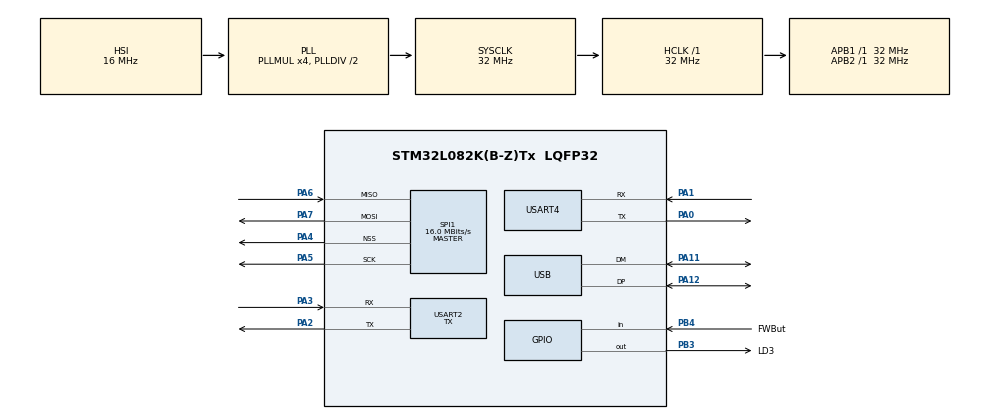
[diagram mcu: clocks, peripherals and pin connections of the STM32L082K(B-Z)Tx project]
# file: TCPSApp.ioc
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Mcu.Family=STM32L0
Mcu.Name=STM32L082K(B-Z)Tx
Mcu.Package=LQFP32
NVIC.SPI1_IRQn=true\:0\:0\:false\:false\:true
NVIC.TIM2_IRQn=true\:0\:0\:false\:false\:true
NVIC.TimeBase=TIM2_IRQn
NVIC.TimeBaseIP=TIM2
NVIC.USART2_IRQn=true\:0\:0\:false\:false\:true
NVIC.USART4_5_IRQn=true\:0\:0\:false\:false\:true
NVIC.USB_IRQn=true\:0\:0\:false\:false\:true
PA0.Mode=Asynchronous
PA0.Signal=USART4_TX
PA1.Mode=Asynchronous
PA1.Signal=USART4_RX
PA11.Mode=Device
PA11.Signal=USB_DM
PA12.Mode=Device
PA12.Signal=USB_DP
PA13.Mode=Serial_Wire
PA13.Signal=SYS_SWDIO
PA14.Mode=Serial_Wire
PA14.Signal=SYS_SWCLK
PA2.Mode=Asynchronous
PA2.Signal=USART2_TX
PA3.Mode=Asynchronous
PA3.Signal=USART2_RX
PA4.Mode=NSS_Signal_Hard_Output
PA4.Signal=SPI1_NSS
PA5.Mode=Full_Duplex_Master
PA5.Signal=SPI1_SCK
PA6.Mode=Full_Duplex_Master
PA6.Signal=SPI1_MISO
PA7.Mode=Full_Duplex_Master
PA7.Signal=SPI1_MOSI
PB3.GPIO_Label=LD3
PB3.Signal=GPIO_Output
PB4.GPIO_Label=FWBut
PB4.GPIO_PuPd=GPIO_PULLDOWN
PB4.Signal=GPIO_Input
PC14-OSC32_IN.Mode=LSE-External-Oscillator
PC14-OSC32_IN.Signal=RCC_OSC32_IN
PC15-OSC32_OUT.Mode=LSE-External-Oscillator
PC15-OSC32_OUT.Signal=RCC_OSC32_OUT
ProjectManager.HeapSize=0x2000
ProjectManager.StackSize=0x2000
ProjectManager.TargetToolchain=MDK-ARM V5
RCC.48MEnable=true
RCC.ADCEnable=false
RCC.AHBFreq_Value=32000000
RCC.APB1Freq_Value=32000000
RCC.APB1TimFreq_Value=32000000
RCC.APB2Freq_Value=32000000
RCC.APB2TimFreq_Value=32000000
RCC.ClockTypeHCLK=RCC_CLOCKTYPE_HCLK
RCC.ClockTypePCLK1=RCC_CLOCKTYPE_PCLK1
RCC.ClockTypePCLK2=RCC_CLOCKTYPE_PCLK2
RCC.ClockTypeSysClk=RCC_CLOCKTYPE_SYSCLK
RCC.EnableCSSLSE=false
RCC.EnableHSE=false
RCC.EnableHSELCDDevisor=false
RCC.EnableHSERTCDevisor=false
RCC.EnableLSE=true
RCC.EnableLSERTC=true
RCC.EnbaleCSS=false
RCC.HCLKFreq_Value=32000000
RCC.HSI16State=RCC_HSI_ON
RCC.HSI16_VALUE=16000000
RCC.HSI48MClockSelection=RCC_USBCLKSOURCE_HSI48
RCC.HSI48State=RCC_HSI48_ON
RCC.HSI48_VALUE=48000000
RCC.HSI_VALUE=16000000
RCC.I2C1Enable=false
RCC.IWDGEnable=false
RCC.LCDEnable=false
RCC.LPTIMEnable=false
RCC.LPUARTEnable=false
RCC.LSEState=RCC_LSE_ON
RCC.LSIState=RCC_LSI_OFF
RCC.MCOEnable=false
RCC.MSI_VALUE=2097000
RCC.PLLMUL=RCC_PLLMUL_4
RCC.PLLSource=RCC_PLLSOURCE_HSI
RCC.PLLSourceVirtual=RCC_PLLSOURCE_HSI
RCC.PLLState=RCC_PLL_ON
RCC.RCC_PERIPHCLK_HSI48Var=RCC_PERIPHCLK_USB
RCC.RCC_PERIPHCLK_RTCVar=RCC_PERIPHCLK_RTC
RCC.RCC_PERIPHCLK_USART2Var=RCC_PERIPHCLK_USART2
RCC.RNGEnable=true
RCC.RTCClockSelection=RCC_RTCCLKSOURCE_LSE
RCC.RTCEnable=true
RCC.SYSCLKFreq_VALUE=32000000
RCC.SYSCLKSource=RCC_SYSCLKSOURCE_PLLCLK
RCC.USART1Enable=false
RCC.USART2Enable=true
RCC.USBEnable=true
RCC.VCOOutputFreq_Value=64000000
RTC.Format=RTC_FORMAT_BIN
RTC.OutPut=RTC_OUTPUT_DISABLE
RTC.OutPutPolarity=RTC_OUTPUT_POLARITY_HIGH
RTC.OutPutType=RTC_OUTPUT_TYPE_OPENDRAIN
SPI1.BaudRatePrescaler=SPI_BAUDRATEPRESCALER_2
SPI1.CRCLength=SPI_CRC_LENGTH_DATASIZE
SPI1.CRCPolynomial=7
SPI1.CalculateBaudRate=16.0 MBits/s
SPI1.Direction=SPI_DIRECTION_2LINES
SPI1.Mode=SPI_MODE_MASTER
SPI1.NSSPMode=SPI_NSS_PULSE_DISABLE
SPI1.VirtualNSS=VM_NSSHARD
SPI1.VirtualType=VM_MASTER
USART2.HwFlowCtl-Asynchronous=UART_HWCONTROL_NONE
USART2.Mode=MODE_TX
USART2.VirtualMode-Asynchronous=VM_ASYNC
USART2.WordLength=WORDLENGTH_8B
USART4.HwFlowCtl-Asynchronous=UART_HWCONTROL_NONE
USART4.VirtualMode-Asynchronous=VM_ASYNC
USART4.WordLength=WORDLENGTH_8B
USB_DEVICE.CLASS_NAME_FS=CDC
USB_DEVICE.USBD_HandleTypeDef_FS=hUsbDevice_USB_FS
USB_DEVICE.VirtualMode=Cdc
USB_DEVICE.VirtualModeFS=Cdc_FS
VP_AES_VS_AES.Mode=AES_Activate
VP_RNG_VS_RNG.Mode=RNG_Activate
VP_RTC_VS_RTC_Activate.Mode=RTC_Enabled
VP_RTC_VS_RTC_Calendar.Mode=RTC_Calendar
VP_SYS_VS_tim2.Mode=TIM2
VP_USB_DEVICE_VS_USB_DEVICE_CDC_FS.Mode=CDC_FS
board=TCPSApp

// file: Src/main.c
/**
  ******************************************************************************
  * File Name          : main.c
  * Description        : Main program body
  ******************************************************************************
  *
  * Copyright (c) 2017 STMicroelectronics International N.V.
  * All rights reserved.
  *
  * Redistribution and use in source and binary forms, with or without
  * modification, are permitted, provided that the following conditions are met:
  *
  * 1. Redistribution of source code must retain the above copyright notice,
  *    this list of conditions and the following disclaimer.
  * 2. Redistributions in binary form must reproduce the above copyright notice,
  *    this list of conditions and the following disclaimer in the documentation
  *    and/or other materials provided with the distribution.
  * 3. Neither the name of STMicroelectronics nor the names of other
  *    contributors to this software may be used to endorse or promote products
  *    derived from this software without specific written permission.
  * 4. This software, including modifications and/or derivative works of this
  *    software, must execute solely and exclusively on microcontroller or
  *    microprocessor devices manufactured by or for STMicroelectronics.
  * 5. Redistribution and use of this software other than as permitted under
  *    this license is void and will automatically terminate your rights under
  *    this license.
  *
  * THIS SOFTWARE IS PROVIDED BY STMICROELECTRONICS AND CONTRIBUTORS "AS IS"
  * AND ANY EXPRESS, IMPLIED OR STATUTORY WARRANTIES, INCLUDING, BUT NOT
  * LIMITED TO, THE IMPLIED WARRANTIES OF MERCHANTABILITY, FITNESS FOR A
  * PARTICULAR PURPOSE AND NON-INFRINGEMENT OF THIRD PARTY INTELLECTUAL PROPERTY
  * RIGHTS ARE DISCLAIMED TO THE FULLEST EXTENT PERMITTED BY LAW. IN NO EVENT
  * SHALL STMICROELECTRONICS OR CONTRIBUTORS BE LIABLE FOR ANY DIRECT, INDIRECT,
  * INCIDENTAL, SPECIAL, EXEMPLARY, OR CONSEQUENTIAL DAMAGES (INCLUDING, BUT NOT
  * LIMITED TO, PROCUREMENT OF SUBSTITUTE GOODS OR SERVICES; LOSS OF USE, DATA,
  * OR PROFITS; OR BUSINESS INTERRUPTION) HOWEVER CAUSED AND ON ANY THEORY OF
  * LIABILITY, WHETHER IN CONTRACT, STRICT LIABILITY, OR TORT (INCLUDING
  * NEGLIGENCE OR OTHERWISE) ARISING IN ANY WAY OUT OF THE USE OF THIS SOFTWARE,
  * EVEN IF ADVISED OF THE POSSIBILITY OF SUCH DAMAGE.
  *
  ******************************************************************************
  */
#include "main.h"
#include "stm32l0xx_hal.h"
#include "usb_device.h"

/* USER CODE BEGIN Includes */
#include <time.h>
#include "Socket.h"
#include "NTPClient.h"

/* USER CODE END Includes */

CRYP_HandleTypeDef hcryp;

RNG_HandleTypeDef hrng;

RTC_HandleTypeDef hrtc;

SPI_HandleTypeDef hspi1;

UART_HandleTypeDef huart2;
UART_HandleTypeDef huart4;

/* USER CODE BEGIN PV */
/* Private variables ---------------------------------------------------------*/
FILE __stdout = {DEFAULT_FILE_HANDLE_STDOUT};
FILE __stdin = {DEFAULT_FILE_HANDLE_STDIN};
FILE __stderr = {DEFAULT_FILE_HANDLE_STDERR};
FILE __net = {DEFAULT_FILE_HANDLE_NET};

/* USER CODE END PV */

void SystemClock_Config(void);
void Error_Handler(void);
static void MX_GPIO_Init(void);
static void MX_RNG_Init(void);
static void MX_RTC_Init(void);
static void MX_USART2_UART_Init(void);
static void MX_AES_Init(void);
static void MX_SPI1_Init(void);
static void MX_USART4_UART_Init(void);

/* USER CODE BEGIN PFP */
/* Private function prototypes -----------------------------------------------*/
int fputc(int ch, FILE *f)
{
    if(f->handle == DEFAULT_FILE_HANDLE_STDOUT)
    {
//        while(CDC_Transmit_FS((uint8_t*)&ch, sizeof(uint8_t)) == USBD_BUSY);
//        return ch;
    }
    else if(f->handle == DEFAULT_FILE_HANDLE_STDERR)
    {
        while(HAL_UART_Transmit(&huart2, (uint8_t*)&ch, sizeof(uint8_t), HAL_MAX_DELAY) == HAL_BUSY);
        return ch;
    }
    else if(f->handle == DEFAULT_FILE_HANDLE_NET)
    {
        while(HAL_UART_Transmit(&huart4, (uint8_t*)&ch, sizeof(uint8_t), HAL_MAX_DELAY) == HAL_BUSY);
        return ch;
    }
    return -1;
}

uint8_t rxBuf[16] = {0};
uint32_t rxRd = 0;
uint32_t rxWr = 0;
void HAL_UART_RxCpltCallback(UART_HandleTypeDef *huart)
{
    if(huart == &huart4)
    {
        rxWr = (rxWr + 1) % sizeof(rxBuf);
        if(rxRd != (rxWr + 1) % sizeof(rxBuf))
        {
            HAL_UART_Receive_IT(&huart4, &rxBuf[rxWr], 1);
        }
    }
}

int fgetc(FILE *f)
{
    int ch = -1;
  if(f->handle == DEFAULT_FILE_HANDLE_STDIN)
  {
//      while((!CDC_RX_Data) && (CDC_DTR));
//      if(CDC_DTR)
//      {
//          ch = *CDC_RX_Data;
//          CDC_RX_Data = NULL;
//          return ch;
//      }
  }
  else if(f->handle == DEFAULT_FILE_HANDLE_NET)
  {
      if(rxRd != (rxWr + 1) % sizeof(rxBuf))
      {
          __HAL_UART_ENABLE_IT(&huart4, UART_IT_RXNE);
          HAL_UART_Receive_IT(&huart4, &rxBuf[rxWr], 1);
      }
      while(rxRd == rxWr) HAL_Delay(1);
      ch = rxBuf[rxRd];
      rxRd = (rxRd + 1) % sizeof(rxBuf);
      HAL_UART_Receive_IT(&huart4, &rxBuf[rxWr], 1);
  }
  return ch;
}

HAL_StatusTypeDef SetTime(time_t t)
{
    HAL_StatusTypeDef retVal = HAL_OK;
    RTC_DateTypeDef date = { 0 };
    RTC_TimeTypeDef time = { 0 };
    struct tm* timeInfo = NULL;

    timeInfo = localtime((time_t*)&t);
    time.Seconds = timeInfo->tm_sec;
    time.Minutes = timeInfo->tm_min;
    time.Hours = timeInfo->tm_hour;
    date.WeekDay = timeInfo->tm_wday;
    date.Date = timeInfo->tm_mday + 1; // mday 0 is the first
    date.Month = timeInfo->tm_mon + 1; // January = 0
    date.Year = timeInfo->tm_year - 100; // Base year is 1900

    if(((retVal = HAL_RTC_SetDate(&hrtc, &date, RTC_FORMAT_BIN)) != HAL_OK) ||
       ((retVal = HAL_RTC_SetTime(&hrtc, &time, RTC_FORMAT_BIN)) != HAL_OK))
    {
        goto Cleanup;
    }

Cleanup:
    return retVal;
}

HAL_StatusTypeDef GetTime(time_t* t)
{
    HAL_StatusTypeDef retVal = HAL_OK;
    RTC_DateTypeDef date = { 0 };
    RTC_TimeTypeDef time = { 0 };
    struct tm timeInfo = { 0 };

    if(((retVal = HAL_RTC_GetDate(&hrtc, &date, RTC_FORMAT_BIN)) != HAL_OK) ||
       ((retVal = HAL_RTC_GetTime(&hrtc, &time, RTC_FORMAT_BIN)) != HAL_OK))
    {
        *t = 0;
        goto Cleanup;
    }

    timeInfo.tm_sec = time.Seconds;
    timeInfo.tm_min = time.Minutes;
    timeInfo.tm_hour = time.Hours;
    timeInfo.tm_wday = date.WeekDay;
    timeInfo.tm_mday = date.Date - 1; // mday 0 is the first
    timeInfo.tm_mon = date.Month - 1; // January = 0
    timeInfo.tm_year = date.Year + 100; // Base year is 1900
    *t = mktime(&timeInfo);

Cleanup:
    return retVal;
}

time_t time(time_t* tOut)
{
    time_t t = 0;
    GetTime(&t);
    if(tOut) *tOut = t;
    return t;
}

/* USER CODE END PFP */

int main(void)
{

  /* MCU Configuration----------------------------------------------------------*/

  /* Reset of all peripherals, Initializes the Flash interface and the Systick. */
  HAL_Init();

  /* Configure the system clock */
  SystemClock_Config();

  /* Initialize all configured peripherals */
  MX_GPIO_Init();
  MX_RNG_Init();
  MX_RTC_Init();
  MX_USART2_UART_Init();
  MX_AES_Init();
  MX_SPI1_Init();
  MX_USART4_UART_Init();
  MX_USB_DEVICE_Init();

  /* USER CODE BEGIN 2 */
  uint32_t ipAddr = 0;
  uint8_t macAddr[6] = {0};
  InitializeESP8266(&ipAddr, macAddr, HAL_MAX_DELAY);
  fprintf(&__stderr, "\r\n%d.%d.%d.%d (%02x:%02x:%02x:%02x:%02x:%02x)\r\n", (ipAddr >> 24), (0xff & (ipAddr >> 16)), (0xff & (ipAddr >> 8)), (0xff & ipAddr), macAddr[0],  macAddr[1], macAddr[2],  macAddr[3], macAddr[4],  macAddr[5]);

  // Set the RTC to UTC
  time_t ntpTime = {0};
  if(NtpGetTime("pool.ntp.org", 4000, &ntpTime) == HAL_OK)
  {
      time_t now = time(NULL);
      SetTime(ntpTime);
      while(now >= time(NULL)); // The RTC needs a couple cycles to reflect the new time
  }
  else
  {
      printf("NtpGetTime() failed.\r\n");
  }
  /* USER CODE END 2 */

  /* Infinite loop */
  /* USER CODE BEGIN WHILE */
  time_t last = 0;
  while (1)
  {
  /* USER CODE END WHILE */

  /* USER CODE BEGIN 3 */
      time_t now = time(NULL);
      if(last < now)
      {
          time_t local = now - (60 * 60 * 7);
          char* timeStr = asctime(localtime(&local));
          timeStr[strlen(timeStr) - 1] = 0;
          fprintf(&__stderr, "\r%s PDST (0x%08x)", timeStr, now);
          last = now;
      }

  }
  /* USER CODE END 3 */

}

/** System Clock Configuration
*/
void SystemClock_Config(void)
{

  RCC_OscInitTypeDef RCC_OscInitStruct;
  RCC_ClkInitTypeDef RCC_ClkInitStruct;
  RCC_PeriphCLKInitTypeDef PeriphClkInit;

    /**Configure the main internal regulator output voltage
    */
  __HAL_PWR_VOLTAGESCALING_CONFIG(PWR_REGULATOR_VOLTAGE_SCALE1);

    /**Initializes the CPU, AHB and APB busses clocks
    */
  RCC_OscInitStruct.OscillatorType = RCC_OSCILLATORTYPE_HSI|RCC_OSCILLATORTYPE_LSE
                              |RCC_OSCILLATORTYPE_HSI48;
  RCC_OscInitStruct.LSEState = RCC_LSE_ON;
  RCC_OscInitStruct.HSIState = RCC_HSI_ON;
  RCC_OscInitStruct.HSICalibrationValue = 16;
  RCC_OscInitStruct.HSI48State = RCC_HSI48_ON;
  RCC_OscInitStruct.PLL.PLLState = RCC_PLL_ON;
  RCC_OscInitStruct.PLL.PLLSource = RCC_PLLSOURCE_HSI;
  RCC_OscInitStruct.PLL.PLLMUL = RCC_PLLMUL_4;
  RCC_OscInitStruct.PLL.PLLDIV = RCC_PLLDIV_2;
  if (HAL_RCC_OscConfig(&RCC_OscInitStruct) != HAL_OK)
  {
    Error_Handler();
  }

    /**Initializes the CPU, AHB and APB busses clocks
    */
  RCC_ClkInitStruct.ClockType = RCC_CLOCKTYPE_HCLK|RCC_CLOCKTYPE_SYSCLK
                              |RCC_CLOCKTYPE_PCLK1|RCC_CLOCKTYPE_PCLK2;
  RCC_ClkInitStruct.SYSCLKSource = RCC_SYSCLKSOURCE_PLLCLK;
  RCC_ClkInitStruct.AHBCLKDivider = RCC_SYSCLK_DIV1;
  RCC_ClkInitStruct.APB1CLKDivider = RCC_HCLK_DIV1;
  RCC_ClkInitStruct.APB2CLKDivider = RCC_HCLK_DIV1;

  if (HAL_RCC_ClockConfig(&RCC_ClkInitStruct, FLASH_LATENCY_1) != HAL_OK)
  {
    Error_Handler();
  }

  PeriphClkInit.PeriphClockSelection = RCC_PERIPHCLK_USART2|RCC_PERIPHCLK_RTC
                              |RCC_PERIPHCLK_USB;
  PeriphClkInit.Usart2ClockSelection = RCC_USART2CLKSOURCE_PCLK1;
  PeriphClkInit.RTCClockSelection = RCC_RTCCLKSOURCE_LSE;
  PeriphClkInit.UsbClockSelection = RCC_USBCLKSOURCE_HSI48;
  if (HAL_RCCEx_PeriphCLKConfig(&PeriphClkInit) != HAL_OK)
  {
    Error_Handler();
  }

    /**Configure LSE Drive Capability
    */
  __HAL_RCC_LSEDRIVE_CONFIG(RCC_LSEDRIVE_LOW);

    /**Configure the Systick interrupt time
    */
  HAL_SYSTICK_Config(HAL_RCC_GetHCLKFreq()/1000);

    /**Configure the Systick
    */
  HAL_SYSTICK_CLKSourceConfig(SYSTICK_CLKSOURCE_HCLK);

  /* SysTick_IRQn interrupt configuration */
  HAL_NVIC_SetPriority(SysTick_IRQn, 0, 0);
}

/* AES init function */
static void MX_AES_Init(void)
{

   uint8_t pKey[16] ;

  hcryp.Instance = AES;
  hcryp.Init.DataType = CRYP_DATATYPE_32B;
  pKey[0] = 0x00;
  pKey[1] = 0x00;
  pKey[2] = 0x00;
  pKey[3] = 0x00;
  pKey[4] = 0x00;
  pKey[5] = 0x00;
  pKey[6] = 0x00;
  pKey[7] = 0x00;
  pKey[8] = 0x00;
  pKey[9] = 0x00;
  pKey[10] = 0x00;
  pKey[11] = 0x00;
  pKey[12] = 0x00;
  pKey[13] = 0x00;
  pKey[14] = 0x00;
  pKey[15] = 0x00;
  hcryp.Init.pKey = &pKey[0];
  if (HAL_CRYP_Init(&hcryp) != HAL_OK)
  {
    Error_Handler();
  }

}

/* RNG init function */
static void MX_RNG_Init(void)
{

  hrng.Instance = RNG;
  if (HAL_RNG_Init(&hrng) != HAL_OK)
  {
    Error_Handler();
  }

}

/* RTC init function */
static void MX_RTC_Init(void)
{

  RTC_TimeTypeDef sTime;
  RTC_DateTypeDef sDate;

    /**Initialize RTC Only
    */
  hrtc.Instance = RTC;
  hrtc.Init.HourFormat = RTC_HOURFORMAT_24;
  hrtc.Init.AsynchPrediv = 127;
  hrtc.Init.SynchPrediv = 255;
  hrtc.Init.OutPut = RTC_OUTPUT_DISABLE;
  hrtc.Init.OutPutRemap = RTC_OUTPUT_REMAP_NONE;
  hrtc.Init.OutPutPolarity = RTC_OUTPUT_POLARITY_HIGH;
  hrtc.Init.OutPutType = RTC_OUTPUT_TYPE_OPENDRAIN;
  if (HAL_RTC_Init(&hrtc) != HAL_OK)
  {
    Error_Handler();
  }

    /**Initialize RTC and set the Time and Date
    */
  if(HAL_RTCEx_BKUPRead(&hrtc, RTC_BKP_DR0) != 0x32F2){
  sTime.Hours = 0;
  sTime.Minutes = 0;
  sTime.Seconds = 0;
  sTime.DayLightSaving = RTC_DAYLIGHTSAVING_NONE;
  sTime.StoreOperation = RTC_STOREOPERATION_RESET;
  if (HAL_RTC_SetTime(&hrtc, &sTime, RTC_FORMAT_BIN) != HAL_OK)
  {
    Error_Handler();
  }

  sDate.WeekDay = RTC_WEEKDAY_MONDAY;
  sDate.Month = RTC_MONTH_JANUARY;
  sDate.Date = 1;
  sDate.Year = 0;

  if (HAL_RTC_SetDate(&hrtc, &sDate, RTC_FORMAT_BIN) != HAL_OK)
  {
    Error_Handler();
  }

    HAL_RTCEx_BKUPWrite(&hrtc,RTC_BKP_DR0,0x32F2);
  }

}

/* SPI1 init function */
static void MX_SPI1_Init(void)
{

  hspi1.Instance = SPI1;
  hspi1.Init.Mode = SPI_MODE_MASTER;
  hspi1.Init.Direction = SPI_DIRECTION_2LINES;
  hspi1.Init.DataSize = SPI_DATASIZE_8BIT;
  hspi1.Init.CLKPolarity = SPI_POLARITY_LOW;
  hspi1.Init.CLKPhase = SPI_PHASE_1EDGE;
  hspi1.Init.NSS = SPI_NSS_HARD_OUTPUT;
  hspi1.Init.BaudRatePrescaler = SPI_BAUDRATEPRESCALER_2;
  hspi1.Init.FirstBit = SPI_FIRSTBIT_MSB;
  hspi1.Init.TIMode = SPI_TIMODE_DISABLE;
  hspi1.Init.CRCCalculation = SPI_CRCCALCULATION_DISABLE;
  hspi1.Init.CRCPolynomial = 7;
  if (HAL_SPI_Init(&hspi1) != HAL_OK)
  {
    Error_Handler();
  }

}

/* USART2 init function */
static void MX_USART2_UART_Init(void)
{

  huart2.Instance = USART2;
  huart2.Init.BaudRate = 115200;
  huart2.Init.WordLength = UART_WORDLENGTH_8B;
  huart2.Init.StopBits = UART_STOPBITS_1;
  huart2.Init.Parity = UART_PARITY_NONE;
  huart2.Init.Mode = UART_MODE_TX;
  huart2.Init.HwFlowCtl = UART_HWCONTROL_NONE;
  huart2.Init.OverSampling = UART_OVERSAMPLING_16;
  huart2.Init.OneBitSampling = UART_ONE_BIT_SAMPLE_DISABLE;
  huart2.AdvancedInit.AdvFeatureInit = UART_ADVFEATURE_NO_INIT;
  if (HAL_UART_Init(&huart2) != HAL_OK)
  {
    Error_Handler();
  }

}

/* USART4 init function */
static void MX_USART4_UART_Init(void)
{

  huart4.Instance = USART4;
  huart4.Init.BaudRate = 115200;
  huart4.Init.WordLength = UART_WORDLENGTH_8B;
  huart4.Init.StopBits = UART_STOPBITS_1;
  huart4.Init.Parity = UART_PARITY_NONE;
  huart4.Init.Mode = UART_MODE_TX_RX;
  huart4.Init.HwFlowCtl = UART_HWCONTROL_NONE;
  huart4.Init.OverSampling = UART_OVERSAMPLING_16;
  huart4.Init.OneBitSampling = UART_ONE_BIT_SAMPLE_DISABLE;
  huart4.AdvancedInit.AdvFeatureInit = UART_ADVFEATURE_NO_INIT;
  if (HAL_UART_Init(&huart4) != HAL_OK)
  {
    Error_Handler();
  }

}

/** Configure pins as
        * Analog
        * Input
        * Output
        * EVENT_OUT
        * EXTI
*/
static void MX_GPIO_Init(void)
{

  GPIO_InitTypeDef GPIO_InitStruct;

  /* GPIO Ports Clock Enable */
  __HAL_RCC_GPIOC_CLK_ENABLE();
  __HAL_RCC_GPIOA_CLK_ENABLE();
  __HAL_RCC_GPIOB_CLK_ENABLE();

  /*Configure GPIO pin Output Level */
  HAL_GPIO_WritePin(LD3_GPIO_Port, LD3_Pin, GPIO_PIN_RESET);

  /*Configure GPIO pin : LD3_Pin */
  GPIO_InitStruct.Pin = LD3_Pin;
  GPIO_InitStruct.Mode = GPIO_MODE_OUTPUT_PP;
  GPIO_InitStruct.Pull = GPIO_NOPULL;
  GPIO_InitStruct.Speed = GPIO_SPEED_FREQ_LOW;
  HAL_GPIO_Init(LD3_GPIO_Port, &GPIO_InitStruct);

  /*Configure GPIO pin : FWBut_Pin */
  GPIO_InitStruct.Pin = FWBut_Pin;
  GPIO_InitStruct.Mode = GPIO_MODE_INPUT;
  GPIO_InitStruct.Pull = GPIO_PULLDOWN;
  HAL_GPIO_Init(FWBut_GPIO_Port, &GPIO_InitStruct);

}

void HAL_TIM_PeriodElapsedCallback(TIM_HandleTypeDef *htim)
{
  if (htim->Instance == TIM2) {
    HAL_IncTick();
  }
}

void Error_Handler(void)
{
  while(1)
  {
  }
}

/************************ (C) COPYRIGHT STMicroelectronics *****END OF FILE****/
